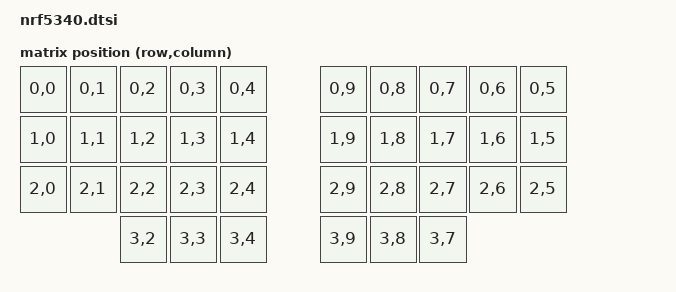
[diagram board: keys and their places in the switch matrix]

#include <dt-bindings/zmk/matrix_transform.h>

/ {
    chosen {
        zmk,kscan = &kscan0;
        zmk,matrix_transform = &default_transform;
        // zephyr,console = &uart0;
        zmk,battery = &vbatt;
    };

    default_transform: keymap_transform_0 {
        compatible = "zmk,matrix-transform";
        columns = <10>;
        rows = <4>;

        map = <
RC(0,0) RC(0,1) RC(0,2) RC(0,3) RC(0,4)     RC(0,9) RC(0,8) RC(0,7) RC(0,6) RC(0,5)
RC(1,0) RC(1,1) RC(1,2) RC(1,3) RC(1,4)     RC(1,9) RC(1,8) RC(1,7) RC(1,6) RC(1,5)
RC(2,0) RC(2,1) RC(2,2) RC(2,3) RC(2,4)     RC(2,9) RC(2,8) RC(2,7) RC(2,6) RC(2,5)
                RC(3,2) RC(3,3) RC(3,4)     RC(3,9) RC(3,8) RC(3,7)
        >;
    };

    kscan0: kscan {
      compatible = "zmk,kscan-gpio-matrix";
      diode-direction = "col2row";
      wakeup-source;
      debounce-scan-period-ms = <2>;
    };

    vbatt: vbatt {
      compatible = "zmk,battery-voltage-divider";
      io-channels = <&adc 2>;
      power-gpios = <&gpio0 7 (GPIO_OPEN_DRAIN | GPIO_ACTIVE_LOW)>;
      output-ohms = <2000000>;
      full-ohms = <(2000000 + 820000)>;
    };
};

&arduino_i2c {
    // Default buffer size is too small for use with displays.
    zephyr,concat-buf-size = <1024>;
};

&gpio_fwd {
    status="disabled";
};

&qspi {
    status="disabled";
};

&uart0{
    status="disabled";
};

&uart1{
    status="disabled";
};
